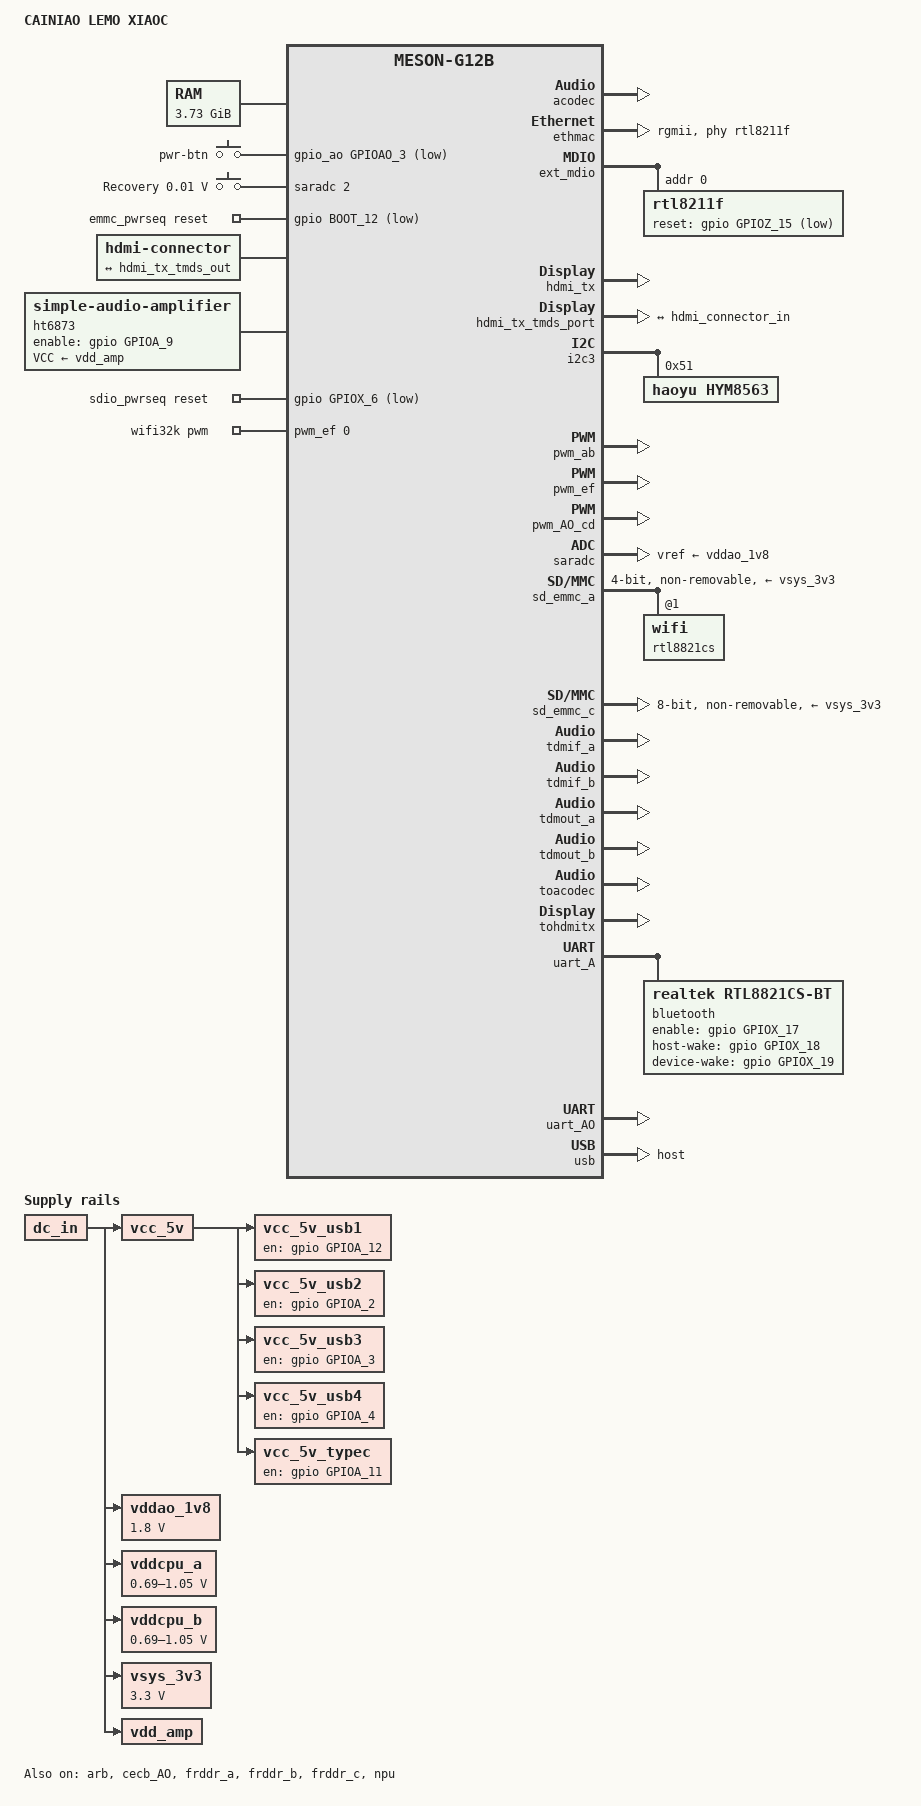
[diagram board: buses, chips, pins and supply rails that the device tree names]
// SPDX-License-Identifier: (GPL-2.0+ OR MIT)
/*
 * Copyright (c) 2019 BayLibre, SAS
 * Author: Neil Armstrong <narmstrong@baylibre.com>
 * Copyright (c) 2019 Christian Hewitt <christianshewitt@gmail.com>
 * Copyright (c) 2025 retro98boy <retro98boy@qq.com>
 */

/dts-v1/;

#include "meson-g12b-a311d.dtsi"
#include <dt-bindings/input/input.h>
#include <dt-bindings/gpio/meson-g12a-gpio.h>
#include <dt-bindings/sound/meson-g12a-toacodec.h>
#include <dt-bindings/sound/meson-g12a-tohdmitx.h>

/ {
	compatible = "cainiao,lemo-xiaoc", "amlogic,a311d", "amlogic,g12b";
	model = "CAINIAO LEMO XIAOC";

	aliases {
		serial0 = &uart_AO;
		ethernet0 = &ethmac;
		rtc0 = &hym8563;
		rtc99 = &vrtc;
	};

	chosen {
		stdout-path = "serial0:115200n8";
	};

	memory@0 {
		device_type = "memory";
		reg = <0x0 0x0 0x0 0xee6b2800>; /* 4GB */
	};

	gpio-keys-polled {
		compatible = "gpio-keys-polled";
		poll-interval = <100>;

		pwr-btn {
			label = "pwr-btn";
			linux,code = <KEY_POWER>;
			gpios = <&gpio_ao GPIOAO_3 GPIO_ACTIVE_LOW>;
		};
	};

	adc-keys {
		compatible = "adc-keys";
		io-channels = <&saradc 2>;
		io-channel-names = "buttons";
		keyup-threshold-microvolt = <1710000>;
		poll-interval = <100>;

		button-recovery {
			label = "Recovery";
			linux,code = <KEY_VENDOR>;
			press-threshold-microvolt = <10000>;
		};
	};

	emmc_pwrseq: emmc-pwrseq {
		compatible = "mmc-pwrseq-emmc";
		reset-gpios = <&gpio BOOT_12 GPIO_ACTIVE_LOW>;
	};

	hdmi-connector {
		compatible = "hdmi-connector";
		type = "a";

		port {
			hdmi_connector_in: endpoint {
				remote-endpoint = <&hdmi_tx_tmds_out>;
			};
		};
	};

	ht6873: ht6873 {
		compatible = "simple-audio-amplifier";
		enable-gpios = <&gpio GPIOA_9 GPIO_ACTIVE_HIGH>;
		VCC-supply = <&vdd_amp>;
		sound-name-prefix = "HT6873";
		status = "okay";
	};

	sdio_pwrseq: sdio-pwrseq {
		compatible = "mmc-pwrseq-simple";
		reset-gpios = <&gpio GPIOX_6 GPIO_ACTIVE_LOW>;
		clocks = <&wifi32k>;
		clock-names = "ext_clock";
	};

	wifi32k: wifi32k {
		compatible = "pwm-clock";
		#clock-cells = <0>;
		clock-frequency = <32768>;
		pwms = <&pwm_ef 0 30518 0>; /* PWM_E at 32.768KHz */
	};

	dc_in: regulator-dc-in {
		compatible = "regulator-fixed";
		regulator-name = "dc_in";
		regulator-always-on;
		regulator-boot-on;
	};

	vcc_5v: regulator-vcc-5v {
		compatible = "regulator-fixed";
		/* enable-active-high; */
		/* gpio = <&gpio GPIOH_8 GPIO_ACTIVE_HIGH>; */
		regulator-name = "vcc_5v";
		regulator-always-on;
		regulator-boot-on;
		vin-supply = <&dc_in>;
	};

	vddao_1v8: regulator-vddao-1v8 {
		compatible = "regulator-fixed";
		regulator-name = "vddao_1v8";
		regulator-min-microvolt = <1800000>;
		regulator-max-microvolt = <1800000>;
		regulator-always-on;
		regulator-boot-on;
		vin-supply = <&dc_in>;
	};

	vddcpu_a: regulator-vddcpu-a {
		compatible = "pwm-regulator";
		regulator-name = "VDDCPU_A";
		regulator-min-microvolt = <690000>;
		regulator-max-microvolt = <1050000>;
		pwm-supply = <&dc_in>;
		pwms = <&pwm_ab 0 1250 0>;
		pwm-dutycycle-range = <100 0>;
		regulator-boot-on;
		regulator-always-on;
	};

	vddcpu_b: regulator-vddcpu-b {
		compatible = "pwm-regulator";
		regulator-name = "VDDCPU_B";
		regulator-min-microvolt = <690000>;
		regulator-max-microvolt = <1050000>;
		pwm-supply = <&dc_in>;
		pwms = <&pwm_AO_cd 1 1250 0>;
		pwm-dutycycle-range = <100 0>;
		regulator-boot-on;
		regulator-always-on;
	};

	vsys_3v3: regulator-vsys-3v3 {
		compatible = "regulator-fixed";
		regulator-name = "vsys_3v3";
		regulator-min-microvolt = <3300000>;
		regulator-max-microvolt = <3300000>;
		regulator-always-on;
		regulator-boot-on;
		vin-supply = <&dc_in>;
	};

	/* HDMI USB1 USB2 USB3 USB4 Type-C */
	vcc_5v_usb1: regulator-vcc-5v-usb1 {
		compatible = "regulator-fixed";
		enable-active-high;
		gpio = <&gpio GPIOA_12 GPIO_ACTIVE_HIGH>;
		regulator-name = "vcc_5v_usb1";
		regulator-always-on;
		regulator-boot-on;
		vin-supply = <&vcc_5v>;
	};

	vcc_5v_usb2: regulator-vcc-5v-usb2 {
		compatible = "regulator-fixed";
		enable-active-high;
		gpio = <&gpio GPIOA_2 GPIO_ACTIVE_HIGH>;
		regulator-name = "vcc_5v_usb2";
		regulator-always-on;
		regulator-boot-on;
		vin-supply = <&vcc_5v>;
	};

	vcc_5v_usb3: regulator-vcc-5v-usb3 {
		compatible = "regulator-fixed";
		enable-active-high;
		gpio = <&gpio GPIOA_3 GPIO_ACTIVE_HIGH>;
		regulator-name = "vcc_5v_usb3";
		regulator-always-on;
		regulator-boot-on;
		vin-supply = <&vcc_5v>;
	};

	vcc_5v_usb4: regulator-vcc-5v-usb4 {
		compatible = "regulator-fixed";
		enable-active-high;
		gpio = <&gpio GPIOA_4 GPIO_ACTIVE_HIGH>;
		regulator-name = "vcc_5v_usb4";
		regulator-always-on;
		regulator-boot-on;
		vin-supply = <&vcc_5v>;
	};

	vcc_5v_typec: regulator-vcc-5v-typec {
		compatible = "regulator-fixed";
		enable-active-high;
		gpio = <&gpio GPIOA_11 GPIO_ACTIVE_HIGH>;
		regulator-name = "vcc_5v_typec";
		regulator-always-on;
		regulator-boot-on;
		vin-supply = <&vcc_5v>;
	};

	vdd_amp: regulator-vdd-amp {
		compatible = "regulator-fixed";
		regulator-name = "vdd_amp";
		regulator-always-on;
		regulator-boot-on;
		vin-supply = <&dc_in>;
	};

	/* Same as CAINIAO CNIoT-CORE */
	sound {
		compatible = "amlogic,axg-sound-card";
		model = "cainiao-cniot-core";
		audio-widgets = "Speaker", "Internal Speaker";
		audio-aux-devs = <&tdmout_a>, <&tdmout_b>, <&ht6873>;
		audio-routing = "TDMOUT_A IN 0", "FRDDR_A OUT 0",
				"TDMOUT_A IN 1", "FRDDR_B OUT 0",
				"TDMOUT_A IN 2", "FRDDR_C OUT 0",
				"TDM_A Playback", "TDMOUT_A OUT",
				"TDMOUT_B IN 0", "FRDDR_A OUT 1",
				"TDMOUT_B IN 1", "FRDDR_B OUT 1",
				"TDMOUT_B IN 2", "FRDDR_C OUT 1",
				"TDM_B Playback", "TDMOUT_B OUT",
				"HT6873 INL", "ACODEC LOLP",
				"HT6873 INR", "ACODEC LORP",
				"Internal Speaker", "HT6873 OUTL",
				"Internal Speaker", "HT6873 OUTR";

		clocks = <&clkc CLKID_MPLL2>,
			 <&clkc CLKID_MPLL0>,
			 <&clkc CLKID_MPLL1>;

		assigned-clocks = <&clkc CLKID_MPLL2>,
				  <&clkc CLKID_MPLL0>,
				  <&clkc CLKID_MPLL1>;
		assigned-clock-parents = <0>, <0>, <0>;
		assigned-clock-rates = <294912000>,
				       <270950400>,
				       <393216000>;

		dai-link-0 {
			sound-dai = <&frddr_a>;
		};

		dai-link-1 {
			sound-dai = <&frddr_b>;
		};

		dai-link-2 {
			sound-dai = <&frddr_c>;
		};

		/* 8ch hdmi interface */
		dai-link-3 {
			sound-dai = <&tdmif_a>;
			dai-format = "i2s";
			dai-tdm-slot-tx-mask-0 = <1 1>;
			dai-tdm-slot-tx-mask-1 = <1 1>;
			dai-tdm-slot-tx-mask-2 = <1 1>;
			dai-tdm-slot-tx-mask-3 = <1 1>;
			mclk-fs = <256>;

			codec-0 {
				sound-dai = <&tohdmitx TOHDMITX_I2S_IN_A>;
			};

			codec-1 {
				sound-dai = <&toacodec TOACODEC_IN_A>;
			};
		};

		/* 8ch hdmi interface */
		dai-link-4 {
			sound-dai = <&tdmif_b>;
			dai-format = "i2s";
			dai-tdm-slot-tx-mask-0 = <1 1>;
			dai-tdm-slot-tx-mask-1 = <1 1>;
			dai-tdm-slot-tx-mask-2 = <1 1>;
			dai-tdm-slot-tx-mask-3 = <1 1>;
			mclk-fs = <256>;

			codec-0 {
				sound-dai = <&tohdmitx TOHDMITX_I2S_IN_B>;
			};

			codec-1 {
				sound-dai = <&toacodec TOACODEC_IN_B>;
			};
		};

		/* hdmi glue */
		dai-link-5 {
			sound-dai = <&tohdmitx TOHDMITX_I2S_OUT>;

			codec {
				sound-dai = <&hdmi_tx>;
			};
		};

		/* acodec glue */
		dai-link-6 {
			sound-dai = <&toacodec TOACODEC_OUT>;

			codec {
				sound-dai = <&acodec>;
			};
		};
	};
};

&acodec {
	AVDD-supply = <&vddao_1v8>;
	status = "okay";
};

&arb {
	status = "okay";
};

&clkc_audio {
	status = "okay";
};

&cecb_AO {
	pinctrl-0 = <&cec_ao_b_h_pins>;
	pinctrl-names = "default";
	status = "okay";
	hdmi-phandle = <&hdmi_tx>;
};

&cpu0 {
	cpu-supply = <&vddcpu_b>;
	operating-points-v2 = <&cpu_opp_table_0>;
	clocks = <&clkc CLKID_CPU_CLK>;
	clock-latency = <50000>;
};

&cpu1 {
	cpu-supply = <&vddcpu_b>;
	operating-points-v2 = <&cpu_opp_table_0>;
	clocks = <&clkc CLKID_CPU_CLK>;
	clock-latency = <50000>;
};

&cpu100 {
	cpu-supply = <&vddcpu_a>;
	operating-points-v2 = <&cpub_opp_table_1>;
	clocks = <&clkc CLKID_CPUB_CLK>;
	clock-latency = <50000>;
};

&cpu101 {
	cpu-supply = <&vddcpu_a>;
	operating-points-v2 = <&cpub_opp_table_1>;
	clocks = <&clkc CLKID_CPUB_CLK>;
	clock-latency = <50000>;
};

&cpu102 {
	cpu-supply = <&vddcpu_a>;
	operating-points-v2 = <&cpub_opp_table_1>;
	clocks = <&clkc CLKID_CPUB_CLK>;
	clock-latency = <50000>;
};

&cpu103 {
	cpu-supply = <&vddcpu_a>;
	operating-points-v2 = <&cpub_opp_table_1>;
	clocks = <&clkc CLKID_CPUB_CLK>;
	clock-latency = <50000>;
};

&ethmac {
	pinctrl-0 = <&eth_pins>, <&eth_rgmii_pins>;
	pinctrl-names = "default";
	status = "okay";
	phy-mode = "rgmii";
	phy-handle = <&rtl8211f>;
	amlogic,tx-delay-ns = <2>;
};

&ext_mdio {
	rtl8211f: rtl8211f@0 {
		reg = <0>;
		max-speed = <1000>;

		reset-assert-us = <10000>;
		reset-deassert-us = <80000>;
		reset-gpios = <&gpio GPIOZ_15 (GPIO_ACTIVE_LOW | GPIO_OPEN_DRAIN)>;

		interrupt-parent = <&gpio_intc>;
		/* MAC_INTR on GPIOZ_14 */
		interrupts = <IRQID_GPIOZ_14 IRQ_TYPE_LEVEL_LOW>; /* tested by voltmeter */

		realtek,led-data = <0xc160>;
	};
};

&frddr_a {
	status = "okay";
};

&frddr_b {
	status = "okay";
};

&frddr_c {
	status = "okay";
};

&hdmi_tx {
	status = "okay";
	pinctrl-0 = <&hdmitx_hpd_pins>, <&hdmitx_ddc_pins>;
	pinctrl-names = "default";
};

&hdmi_tx_tmds_port {
	hdmi_tx_tmds_out: endpoint {
		remote-endpoint = <&hdmi_connector_in>;
	};
};

&i2c3 {
	status = "okay";
	pinctrl-0 = <&i2c3_sda_a_pins>, <&i2c3_sck_a_pins>;
	pinctrl-names = "default";

	hym8563: rtc@51 {
		compatible = "haoyu,hym8563";
		reg = <0x51>;
		#clock-cells = <0>;
	};
};

&npu {
	status = "okay";
};

&pwm_ab {
	status = "okay";
	pinctrl-0 = <&pwm_a_e_pins>;
	pinctrl-names = "default";
	clocks = <&xtal>;
	clock-names = "clkin0";
};

&pwm_ef {
	status = "okay";
	pinctrl-0 = <&pwm_e_pins>;
	pinctrl-names = "default";
};

&pwm_AO_cd {
	pinctrl-0 = <&pwm_ao_d_e_pins>;
	pinctrl-names = "default";
	clocks = <&xtal>;
	clock-names = "clkin1";
	status = "okay";
};

&saradc {
	status = "okay";
	vref-supply = <&vddao_1v8>;
};

&sd_emmc_a {
	status = "okay";
	pinctrl-0 = <&sdio_pins>;
	pinctrl-1 = <&sdio_clk_gate_pins>;
	pinctrl-names = "default", "clk-gate";
	#address-cells = <1>;
	#size-cells = <0>;

	bus-width = <4>;
	max-frequency = <50000000>;
	cap-sdio-irq;
	cap-sd-highspeed;
	non-removable;
	sd-uhs-ddr50;

	/* WiFi firmware requires power in suspend */
	keep-power-in-suspend;
	mmc-pwrseq = <&sdio_pwrseq>;
	vmmc-supply = <&vsys_3v3>;
	vqmmc-supply = <&vddao_1v8>;

	rtl8821cs: wifi@1 {
		reg = <1>;
		/*
		 * tested by voltmeter
		 * WL_REG_ON GPIOX_6
		 * WL_HOST_WAKE GPIOX_7
		 */
	};
};

&sd_emmc_c {
	status = "okay";
	pinctrl-0 = <&emmc_ctrl_pins>, <&emmc_data_8b_pins>, <&emmc_ds_pins>;
	pinctrl-1 = <&emmc_clk_gate_pins>;
	pinctrl-names = "default", "clk-gate";

	max-frequency = <200000000>;
	bus-width = <8>;
	cap-mmc-highspeed;
	mmc-ddr-1_8v;
	mmc-hs200-1_8v;
	non-removable;

	mmc-pwrseq = <&emmc_pwrseq>;
	vmmc-supply = <&vsys_3v3>;
	vqmmc-supply = <&vddao_1v8>;
};

&tdmif_a {
	status = "okay";
};

&tdmif_b {
	status = "okay";
};

&tdmout_a {
	status = "okay";
};

&tdmout_b {
	status = "okay";
};

&toacodec {
	status = "okay";
};

&tohdmitx {
	status = "okay";
};

&uart_A {
	status = "okay";
	pinctrl-0 = <&uart_a_pins>, <&uart_a_cts_rts_pins>;
	pinctrl-names = "default";
	uart-has-rtscts;

	bluetooth {
		compatible = "realtek,rtl8821cs-bt", "realtek,rtl8723bs-bt";
		enable-gpios = <&gpio GPIOX_17 GPIO_ACTIVE_HIGH>; /* tested by voltmeter */
		host-wake-gpios = <&gpio GPIOX_18 GPIO_ACTIVE_HIGH>; /* tested by voltmeter */
		device-wake-gpios = <&gpio GPIOX_19 GPIO_ACTIVE_HIGH>; /* tested by voltmeter */
	};
};

&uart_AO {
	status = "okay";
	pinctrl-0 = <&uart_ao_a_pins>;
	pinctrl-names = "default";
};

&usb2_phy0 {
	phy-supply = <&vcc_5v_usb2>;
};

&usb2_phy1 {
	phy-supply = <&vcc_5v_usb3>;
};

&usb3_pcie_phy {
	phy-supply = <&vcc_5v_usb4>;
};

&usb {
	status = "okay";
	dr_mode = "host";
};
